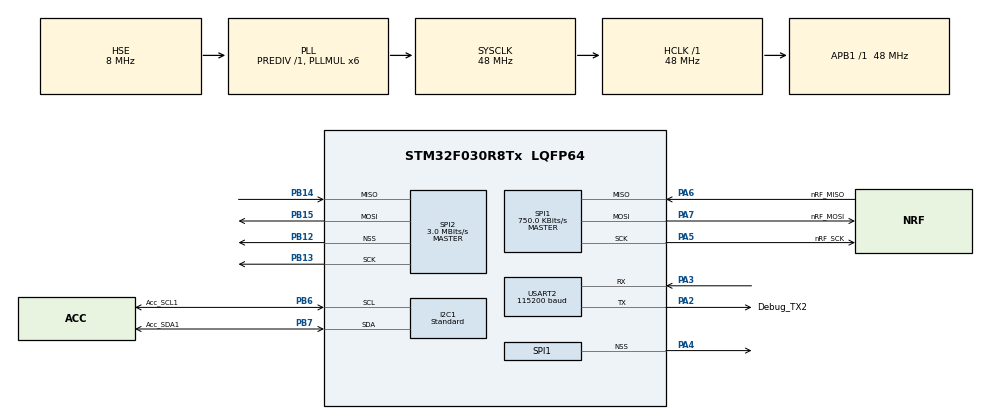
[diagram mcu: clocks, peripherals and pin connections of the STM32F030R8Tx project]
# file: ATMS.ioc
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I2C1.Analog_Filter=I2C_ANALOGFILTER_ENABLE
I2C1.I2C_Fall_Time=0
I2C1.I2C_Rise_Time=0
I2C1.I2C_Speed_Mode=I2C_Standard
I2C1.Timing=0x20303E5D
Mcu.Family=STM32F0
Mcu.Name=STM32F030R8Tx
Mcu.Package=LQFP64
NVIC.SPI1_IRQn=true\:0\:0\:false\:false\:true\:true\:true
PA13.Mode=Serial_Wire
PA13.Signal=SYS_SWDIO
PA14.Mode=Serial_Wire
PA14.Signal=SYS_SWCLK
PA2.GPIO_Label=Debug_TX2
PA2.Mode=Asynchronous
PA2.Signal=USART2_TX
PA3.Mode=Asynchronous
PA3.Signal=USART2_RX
PA4.Mode=NSS_Signal_Hard_Output
PA4.Signal=SPI1_NSS
PA5.GPIO_Label=nRF_SCK
PA5.Mode=Full_Duplex_Master
PA5.Signal=SPI1_SCK
PA6.GPIO_Label=nRF_MISO
PA6.Mode=Full_Duplex_Master
PA6.Signal=SPI1_MISO
PA7.GPIO_Label=nRF_MOSI
PA7.Mode=Full_Duplex_Master
PA7.Signal=SPI1_MOSI
PB12.Mode=NSS_Signal_Hard_Output
PB12.Signal=SPI2_NSS
PB13.Mode=Full_Duplex_Master
PB13.Signal=SPI2_SCK
PB14.Mode=Full_Duplex_Master
PB14.Signal=SPI2_MISO
PB15.Mode=Full_Duplex_Master
PB15.Signal=SPI2_MOSI
PB6.GPIO_Label=Acc_SCL1
PB6.Mode=I2C
PB6.Signal=I2C1_SCL
PB7.GPIO_Label=Acc_SDA1
PB7.Mode=I2C
PB7.Signal=I2C1_SDA
PF0-OSC_IN.Mode=HSE-External-Oscillator
PF0-OSC_IN.Signal=RCC_OSC_IN
PF1-OSC_OUT.Mode=HSE-External-Oscillator
PF1-OSC_OUT.Signal=RCC_OSC_OUT
ProjectManager.HeapSize=0x200
ProjectManager.StackSize=0x400
ProjectManager.TargetToolchain=MDK-ARM V5
RCC.AHBFreq_Value=48000000
RCC.APB1Freq_Value=48000000
RCC.APB1TimFreq_Value=48000000
RCC.HCLKFreq_Value=48000000
RCC.I2c1ClockSelection=RCC_I2C1CLKSOURCE_SYSCLK
RCC.PLLMUL=RCC_PLL_MUL6
RCC.PLLSourceVirtual=RCC_PLLSOURCE_HSE
RCC.SYSCLKFreq_VALUE=48000000
RCC.SYSCLKSource=RCC_SYSCLKSOURCE_PLLCLK
SPI1.BaudRatePrescaler=SPI_BAUDRATEPRESCALER_64
SPI1.CalculateBaudRate=750.0 KBits/s
SPI1.DataSize=SPI_DATASIZE_8BIT
SPI1.Direction=SPI_DIRECTION_2LINES
SPI1.Mode=SPI_MODE_MASTER
SPI1.NSSPMode=SPI_NSS_PULSE_DISABLE
SPI1.VirtualNSS=VM_NSSHARD
SPI1.VirtualType=VM_MASTER
SPI2.BaudRatePrescaler=SPI_BAUDRATEPRESCALER_16
SPI2.CalculateBaudRate=3.0 MBits/s
SPI2.DataSize=SPI_DATASIZE_8BIT
SPI2.Direction=SPI_DIRECTION_2LINES
SPI2.Mode=SPI_MODE_MASTER
SPI2.VirtualNSS=VM_NSSHARD
SPI2.VirtualType=VM_MASTER
USART2.BaudRate=115200
USART2.VirtualMode-Asynchronous=VM_ASYNC
USART2.VirtualMode-Hardware\ Flow\ Control\ (RS485)=VM_ASYNC
board=custom

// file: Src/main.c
/* USER CODE BEGIN Header */
/**
  ******************************************************************************
  * @file           : main.c
  * @brief          : Main program body
  ******************************************************************************
  * @attention
  *
  * <h2><center>&copy; Copyright (c) 2020 STMicroelectronics.
  * All rights reserved.</center></h2>
  *
  * This software component is licensed by ST under BSD 3-Clause license,
  * the "License"; You may not use this file except in compliance with the
  * License. You may obtain a copy of the License at:
  *                        opensource.org/licenses/BSD-3-Clause
  *
  ******************************************************************************
  */
/* USER CODE END Header */

#include "main.h"

/* USER CODE BEGIN Includes */
#include <stdio.h>
#include <stdlib.h>
#include <stdbool.h>
#include <stdint.h>
#include <string.h>
#include <math.h>
#include "filtering.h"
#include "lis3dh.h"
#include "gyroscope.h"
#include <math.h>
/* USER CODE END Includes */

/* USER CODE BEGIN PTD */
#define roundz(x,d) ((floor(((x)*pow(10,d))+.5))/pow(10,d))
#define AXES 3
#define RAD2PI (180/3.141592)
/* USER CODE END PTD */

I2C_HandleTypeDef hi2c1;

SPI_HandleTypeDef hspi1;
SPI_HandleTypeDef hspi2;

UART_HandleTypeDef huart2;

void SystemClock_Config(void);
static void MX_GPIO_Init(void);
static void MX_I2C1_Init(void);
static void MX_SPI1_Init(void);
static void MX_USART2_UART_Init(void);
static void MX_SPI2_Init(void);
/* USER CODE BEGIN PFP */
#ifdef __GNUC__
  #define PUTCHAR_PROTOTYPE int __io_putchar(int ch)
#else
  #define PUTCHAR_PROTOTYPE int fputc(int ch, FILE *f)
#endif
PUTCHAR_PROTOTYPE{HAL_UART_Transmit(&huart2, (uint8_t *)&ch, 1, 0xFFFF); return ch;}
uint32_t micros(void)
{
  uint32_t usTicks = HAL_RCC_GetSysClockFreq() / 1000000;
  register uint32_t ms, cycle_cnt;
  do{
		ms = HAL_GetTick();
    cycle_cnt = SysTick->VAL;
  }while (ms != HAL_GetTick());
  return (ms * 1000) + (usTicks * 1000 - cycle_cnt) / usTicks;
}
/* USER CODE END PFP */

/* USER CODE BEGIN 0 */

//#define Calib 1
IMUS Acc;
IMUS Gyro;

const int SegLen = 8;
static int CalibCount = 5000;

double GScale = 0.4;
double AScale = 1.0;
double roll=0;
double pitch=0;
double yaw=0;

double dt=0.0;
kalmanS RollKF;
kalmanS PitchKF;
kalmanS YawKF;

int16_t RawAcc[3]   = {0};
int16_t RawGyro[3]  = {0};

static uint8_t whoamI;

static void Acc_write(uint8_t reg, uint8_t bufp){
	reg |= 0x80;
  HAL_I2C_Mem_Write(&hi2c1, LIS3DH_I2C_ADD_H, reg, I2C_MEMADD_SIZE_8BIT, &bufp,1, 1000);
}

static void Acc_read(uint8_t reg, uint8_t *bufp){
	reg |= 0x80;
  HAL_I2C_Mem_Read(&hi2c1, LIS3DH_I2C_ADD_H, reg, I2C_MEMADD_SIZE_8BIT, bufp,1, 1000);
}

void AccGetPos(int16_t *raw){
	static uint8_t buff[6]= {0};
	HAL_I2C_Mem_Read(&hi2c1, LIS3DH_I2C_ADD_H, LIS3DH_OUT_X_L | 0x80, I2C_MEMADD_SIZE_8BIT, buff, 6, 1000);
	raw[0] = (int16_t) (buff[0]| (((uint16_t)buff[1]) << 8));
  raw[1] = (int16_t) (buff[2]| (((uint16_t)buff[3]) << 8));
	raw[2] = (int16_t) (buff[4]| (((uint16_t)buff[5]) << 8));
}

/* USER CODE END 0 */

int main(void)
{

  /* MCU Configuration--------------------------------------------------------*/

  /* Reset of all peripherals, Initializes the Flash interface and the Systick. */
  HAL_Init();

  /* Configure the system clock */
  SystemClock_Config();

  /* Initialize all configured peripherals */
  MX_GPIO_Init();
  MX_I2C1_Init();
  MX_SPI1_Init();
  MX_USART2_UART_Init();
  MX_SPI2_Init();
  /* USER CODE BEGIN 2 */
  printf("\r\nProram Staring.........\n");
	while(whoamI != LIS3DH_ID){ 	Acc_read(LIS3DH_WHO_AM_I, &whoamI);	HAL_Delay(10);	}
    printf("\r\nLIS3DH Activated \n");

    //static uint8_t val = 0x70| 0x04| 0x02| 0x01;
		static uint8_t val = 0x97;
    printf("\r\nLIS3DH Writting Setting  %02X\n",val);
		Acc_write(LIS3DH_CTRL_REG1,val);
    printf("\r\nLIS3DH Reading Setting  %02X\n",val);
		HAL_Delay(10);
    Acc_write(LIS3DH_CTRL_REG2,0);
		HAL_Delay(10);
//    AccSetGet(LIS3DH_CTRL_REG3,0);
//		HAL_Delay(200);
//    AccSetGet(LIS3DH_CTRL_REG4,0);
//		HAL_Delay(200);
//    AccSetGet(LIS3DH_CTRL_REG5,0);
//		HAL_Delay(200);
//    AccSetGet(LIS3DH_CTRL_REG6,0);
//		HAL_Delay(200);

    Acc_read(LIS3DH_STATUS_REG,&val);

  /* USER CODE END 2 */

  /* Infinite loop */
  /* USER CODE BEGIN WHILE */
	static uint8_t Acci[6];

	BSP_GYRO_Init();
	uint8_t pTX[15] = "I am STM32F030\n";

	printf("Starting Calibration...\n");

	for(int i=0;i<200;i++){ AccGetPos(RawAcc);	GyroGetRate(RawGyro); }
	HAL_Delay(5000);
#ifdef Calib
	for(int i=0;i<CalibCount;i++){
		AccGetPos(RawAcc);	GyroGetRate(RawGyro);
		for(int j=0;j<AXES;j++){	Acc.Bais[j] 	+=  RawAcc[j];	Gyro.Bais[j]	+=	RawGyro[j];	}
	}

	for(int j=0;j<AXES;j++){
		Gyro.Bais[j]= Gyro.Bais[j]/(CalibCount);	Acc.Bais[j] = Acc.Bais[j]/(CalibCount);
		if(j>1){	Acc.Bais[j] -= 16383;	}
	}
	printf("\r\nA : %d\t%d\t%d\r\nG: %d\t%d\t%d\t\n",Acc.Bais[0],Acc.Bais[1],Acc.Bais[2],Gyro.Bais[0],Gyro.Bais[1],Gyro.Bais[2]);
#else

	Acc.Bais[0]= 239;
	Acc.Bais[1]= -461;
	Acc.Bais[2]= -386;

	Gyro.Bais[0]= -10;
	Gyro.Bais[1]= 2;
	Gyro.Bais[2]= 0;
#endif
	static char AntO[40]= {0};
	InitKalman(&RollKF,0.001,1.0017);
	InitKalman(&PitchKF,0.001,1.0017);
	InitKalman(&YawKF,0.0001,0.0017);

	uint32_t StartTime=micros();

	char pRX[30]={0};
	static uint16_t DLen=0;

	float KalROLL  = 0.0;
	float KalPITCH = 0.0;
	float KalYAW 	 = 0.0;

	int reSPI=0;
	while (true){
		StartTime = micros();
		for(int i=0;i<SegLen;i++){
			AccGetPos(RawAcc);	GyroGetRate(RawGyro);
			for(int j=0;j<AXES;j++){Acc.In[j][i]=RawAcc[j]-Acc.Bais[j];	Gyro.In[j][i]=RawGyro[j]-Gyro.Bais[j];}
		}
		for(int j=0;j<AXES;j++){ GFilter(Gyro.In[j],Gyro.Out[j]); AFilter(Acc.In[j],Acc.Out[j]);	}
		for(int i=0;i<SegLen;i++){
			for(int j=0;j<AXES;j++){ Gyro.mean[j]+=Gyro.Out[j][i];	Acc.mean[j] +=Acc.Out[j][i];	}
		}
		for(int j=0;j<AXES;j++){ Gyro.mean[j] = Gyro.mean[j]/(float)SegLen;	Acc.mean[j]  = Acc.mean[j]/(float)SegLen;	}
		dt = (micros()-StartTime)/(1000000.0f - 0.0f);
		Gyro.roll 	= (Gyro.mean[X] * dt * GScale) + roundz(Gyro.roll,1);
		Gyro.pitch	= (Gyro.mean[Y] * dt * GScale) + roundz(Gyro.pitch,1);
		Gyro.yaw		= (Gyro.mean[Z] * dt * GScale) + roundz(Gyro.yaw,1);

		Acc.roll 	  = RAD2PI * atan(Acc.mean[Y] / sqrt(pow(Acc.mean[X],2) + pow(Acc.mean[Z],2))) *AScale;
		Acc.pitch 	= RAD2PI * atan(Acc.mean[X] / sqrt(pow(Acc.mean[Y],2) + pow(Acc.mean[Z],2))) *AScale;
		Acc.yaw 		= RAD2PI * atan(sqrt(pow(Acc.mean[Y],2) + pow(Acc.mean[X],2)) / Acc.mean[Z]);

		roll 	= 0.9 * (roll +  (Gyro.mean[X]/(float)SegLen)* dt) + 0.1*Acc.roll;
		pitch = 0.9 * (pitch + (Gyro.mean[Y]/(float)SegLen)* dt) + 0.1*Acc.pitch;

		KalROLL 	= ProcessKalman(&RollKF,roll);
		KalPITCH 	= ProcessKalman(&PitchKF,pitch);
		KalYAW 		= ProcessKalman(&YawKF,Gyro.yaw);

#ifdef Calib
		sprintf(AntO,"\n%d,%d,%d,%d,%d,%d,\n",Acc.Bais[0],Acc.Bais[1],Acc.Bais[2],Gyro.Bais[0],Gyro.Bais[1],Gyro.Bais[2]);
#else
		sprintf(AntO,"ANT:R%.02lf,P%.02lf,Y%.02lf,%c",KalPITCH,KalROLL,KalYAW*5,0x0A);
#endif
		memset(pRX,0,sizeof(pRX));
		HAL_SPI_TransmitReceive(&hspi1,(uint8_t *)AntO,(uint8_t *)pRX,40,100);
		//printf("\r\nSPI Rec Length %d \r\n",strlen(pRX));
		if(strlen(pRX)>0){
			if(strstr(pRX,"OK")){
				reSPI=0;
				printf("\r\nMatched \r\n");
			}
			else{
				HAL_Delay(1);
				HAL_SPIEx_FlushRxFifo(&hspi1);
				HAL_SPI_DeInit(&hspi1);
				HAL_Delay(1);
				HAL_SPI_Init(&hspi1);
			}
		}
		else{
			if(reSPI++>20){
				printf("\r\nReinit SPI\r\n");
				reSPI=0;
				HAL_Delay(1);
				HAL_SPIEx_FlushRxFifo(&hspi1);
				HAL_SPI_DeInit(&hspi1);
				HAL_Delay(1);
				HAL_SPI_Init(&hspi1);
			}
		}
		printf("\r%s",AntO);
  }
    /* USER CODE END WHILE */

}

void SystemClock_Config(void)
{
  RCC_OscInitTypeDef RCC_OscInitStruct = {0};
  RCC_ClkInitTypeDef RCC_ClkInitStruct = {0};
  RCC_PeriphCLKInitTypeDef PeriphClkInit = {0};

  /** Initializes the CPU, AHB and APB busses clocks
  */
  RCC_OscInitStruct.OscillatorType = RCC_OSCILLATORTYPE_HSE;
  RCC_OscInitStruct.HSEState = RCC_HSE_ON;
  RCC_OscInitStruct.PLL.PLLState = RCC_PLL_ON;
  RCC_OscInitStruct.PLL.PLLSource = RCC_PLLSOURCE_HSE;
  RCC_OscInitStruct.PLL.PLLMUL = RCC_PLL_MUL6;
  RCC_OscInitStruct.PLL.PREDIV = RCC_PREDIV_DIV1;
  if (HAL_RCC_OscConfig(&RCC_OscInitStruct) != HAL_OK)
  {
    Error_Handler();
  }
  /** Initializes the CPU, AHB and APB busses clocks
  */
  RCC_ClkInitStruct.ClockType = RCC_CLOCKTYPE_HCLK|RCC_CLOCKTYPE_SYSCLK
                              |RCC_CLOCKTYPE_PCLK1;
  RCC_ClkInitStruct.SYSCLKSource = RCC_SYSCLKSOURCE_PLLCLK;
  RCC_ClkInitStruct.AHBCLKDivider = RCC_SYSCLK_DIV1;
  RCC_ClkInitStruct.APB1CLKDivider = RCC_HCLK_DIV1;

  if (HAL_RCC_ClockConfig(&RCC_ClkInitStruct, FLASH_LATENCY_1) != HAL_OK)
  {
    Error_Handler();
  }
  PeriphClkInit.PeriphClockSelection = RCC_PERIPHCLK_I2C1;
  PeriphClkInit.I2c1ClockSelection = RCC_I2C1CLKSOURCE_SYSCLK;
  if (HAL_RCCEx_PeriphCLKConfig(&PeriphClkInit) != HAL_OK)
  {
    Error_Handler();
  }
}

static void MX_I2C1_Init(void)
{

  hi2c1.Instance = I2C1;
  hi2c1.Init.Timing = 0x20303E5D;
  hi2c1.Init.OwnAddress1 = 0;
  hi2c1.Init.AddressingMode = I2C_ADDRESSINGMODE_7BIT;
  hi2c1.Init.DualAddressMode = I2C_DUALADDRESS_DISABLE;
  hi2c1.Init.OwnAddress2 = 0;
  hi2c1.Init.OwnAddress2Masks = I2C_OA2_NOMASK;
  hi2c1.Init.GeneralCallMode = I2C_GENERALCALL_DISABLE;
  hi2c1.Init.NoStretchMode = I2C_NOSTRETCH_DISABLE;
  if (HAL_I2C_Init(&hi2c1) != HAL_OK)
  {
    Error_Handler();
  }
  /** Configure Analogue filter
  */
  if (HAL_I2CEx_ConfigAnalogFilter(&hi2c1, I2C_ANALOGFILTER_ENABLE) != HAL_OK)
  {
    Error_Handler();
  }
  /** Configure Digital filter
  */
  if (HAL_I2CEx_ConfigDigitalFilter(&hi2c1, 0) != HAL_OK)
  {
    Error_Handler();
  }

}

static void MX_SPI1_Init(void)
{

  /* SPI1 parameter configuration*/
  hspi1.Instance = SPI1;
  hspi1.Init.Mode = SPI_MODE_SLAVE;
  hspi1.Init.Direction = SPI_DIRECTION_2LINES;
  hspi1.Init.DataSize = SPI_DATASIZE_8BIT;
  hspi1.Init.CLKPolarity = SPI_POLARITY_LOW;
  hspi1.Init.CLKPhase = SPI_PHASE_1EDGE;
  //hspi1.Init.NSS = SPI_NSS_HARD_OUTPUT;
	hspi1.Init.NSS = SPI_NSS_SOFT;
  hspi1.Init.BaudRatePrescaler = SPI_BAUDRATEPRESCALER_64;
  hspi1.Init.FirstBit = SPI_FIRSTBIT_MSB;
  hspi1.Init.TIMode = SPI_TIMODE_DISABLE;
  hspi1.Init.CRCCalculation = SPI_CRCCALCULATION_DISABLE;
  hspi1.Init.CRCPolynomial = 7;
  hspi1.Init.CRCLength = SPI_CRC_LENGTH_DATASIZE;
  hspi1.Init.NSSPMode = SPI_NSS_PULSE_DISABLE;
  if (HAL_SPI_Init(&hspi1) != HAL_OK)
  {
    Error_Handler();
  }

}

static void MX_SPI2_Init(void)
{

  /* SPI2 parameter configuration*/
  hspi2.Instance = SPI2;
  hspi2.Init.Mode = SPI_MODE_MASTER;
  hspi2.Init.Direction = SPI_DIRECTION_2LINES;
  hspi2.Init.DataSize = SPI_DATASIZE_8BIT;
  hspi2.Init.CLKPolarity = SPI_POLARITY_LOW;
  hspi2.Init.CLKPhase = SPI_PHASE_1EDGE;
  hspi2.Init.NSS = SPI_NSS_HARD_OUTPUT;
  hspi2.Init.BaudRatePrescaler = SPI_BAUDRATEPRESCALER_16;
  hspi2.Init.FirstBit = SPI_FIRSTBIT_MSB;
  hspi2.Init.TIMode = SPI_TIMODE_DISABLE;
  hspi2.Init.CRCCalculation = SPI_CRCCALCULATION_DISABLE;
  hspi2.Init.CRCPolynomial = 7;
  hspi2.Init.CRCLength = SPI_CRC_LENGTH_DATASIZE;
  hspi2.Init.NSSPMode = SPI_NSS_PULSE_ENABLE;
  if (HAL_SPI_Init(&hspi2) != HAL_OK)
  {
    Error_Handler();
  }

}

static void MX_USART2_UART_Init(void)
{

  huart2.Instance = USART2;
  huart2.Init.BaudRate = 115200;
  huart2.Init.WordLength = UART_WORDLENGTH_8B;
  huart2.Init.StopBits = UART_STOPBITS_1;
  huart2.Init.Parity = UART_PARITY_NONE;
  huart2.Init.Mode = UART_MODE_TX_RX;
  huart2.Init.HwFlowCtl = UART_HWCONTROL_NONE;
  huart2.Init.OverSampling = UART_OVERSAMPLING_16;
  huart2.Init.OneBitSampling = UART_ONE_BIT_SAMPLE_DISABLE;
  huart2.AdvancedInit.AdvFeatureInit = UART_ADVFEATURE_NO_INIT;
  if (HAL_UART_Init(&huart2) != HAL_OK)
  {
    Error_Handler();
  }

}

static void MX_GPIO_Init(void)
{

  /* GPIO Ports Clock Enable */
  __HAL_RCC_GPIOF_CLK_ENABLE();
  __HAL_RCC_GPIOA_CLK_ENABLE();
  __HAL_RCC_GPIOB_CLK_ENABLE();

}

/* USER CODE BEGIN 4 */
//void HAL_GPIO_EXTI_Callback(uint16_t GPIO_Pin)
//{
//    if (GPIO_Pin == GPIO_PIN_0 || GPIO_Pin == GPIO_PIN_1 || GPIO_Pin == GPIO_PIN_2 || GPIO_Pin == GPIO_PIN_3)
//    {
//        HAL_GPIO_TogglePin(GPIOC, GPIO_PIN_6);
//        HAL_GPIO_TogglePin(GPIOB, GPIO_PIN_11);
//    }
//}
/* USER CODE END 4 */

void Error_Handler(void)
{
}

/************************ (C) COPYRIGHT STMicroelectronics *****END OF FILE****/
